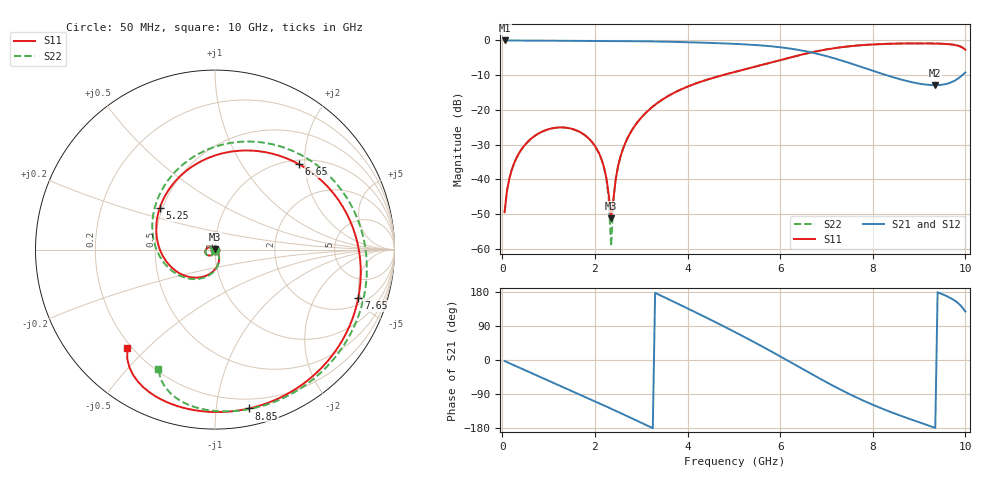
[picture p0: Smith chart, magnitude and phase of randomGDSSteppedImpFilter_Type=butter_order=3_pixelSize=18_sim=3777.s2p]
! freq	dB(S11)	phase(S11)	dB(S12)	phase(S12)
!  dB(S21)	phase(S21)	dB(S22)	phase(S22)
!S-par simulation data
#  GHz  S  DB  R 50
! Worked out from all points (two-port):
!   200 points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, 50 MHz to 10 GHz, reference 50 ohm
!   highest |S21| = -0.01 dB at 50 MHz (marker M1); lowest = -12.9 dB at 9.35 GHz (marker M2)
!   |S21| within 3 dB of the highest: start of sweep to 6.512 GHz
!   lowest |S11| = -51.2 dB at 2.35 GHz (marker M3), VSWR 1.01, Z = 50.1 + j0.24 ohm
!   |S11| at or under -10 dB: start of sweep to 4.759 GHz
!   |S22| runs from -59.2 to -0.8 dB; largest |S21 - S12| = 0
!   S11 on the Smith chart (normalised r, x): 50 MHz: 1.00, -0.01; 5.25 GHz: 0.48, +0.26; 6.65 GHz: 1.09, +1.87; 7.65 GHz: 2.58, -4.77; 8.85 GHz: 0.13, -1.23; 10 GHz: 0.18, -0.44
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0.05  -49.42 -86.9  -0.01 -2.8  -0.01 -2.8  -49.42 -86.8
0.2  -37.43 -99.7  -0.02 -10.9  -0.02 -10.9  -37.43 -99.5
0.55  -29.18 -120.3  -0.04 -30.0  -0.04 -30.0  -29.19 -119.7
1.75  -26.96 171.1  -0.12 -95.3  -0.12 -95.3  -26.98 174.2
2.2  -36.67 138.9  -0.14 -120.2  -0.14 -120.2  -36.88 149.2
2.3  -44.60 116.9  -0.15 -125.8  -0.15 -125.8  -45.76 142.9
2.35  -51.16 60.0  -0.15 -128.6  -0.15 -128.6  -59.22 94.2
2.4  -45.55 -13.6  -0.15 -131.4  -0.15 -131.4  -46.36 -40.4
2.45  -39.84 -31.2  -0.16 -134.2  -0.16 -134.2  -39.95 -43.8
2.6  -31.45 -48.7  -0.17 -142.6  -0.17 -142.6  -31.42 -52.4
3.4  -17.54 -99.8  -0.32 171.4  -0.32 171.4  -17.51 -97.6
4.3  -11.83 -155.2  -0.63 118.2  -0.63 118.2  -11.81 -149.1
5.05  -8.97 156.3  -1.01 72.1  -1.01 72.1  -8.95 166.5
5.25  -8.28 142.9  -1.15 59.3  -1.15 59.3  -8.26 154.2
5.95  -5.83 94.5  -1.89 13.0  -1.89 13.0  -5.83 109.2
6.65  -3.51 45.4  -3.38 -35.1  -3.38 -35.1  -3.51 61.7
6.7  -3.37 41.9  -3.53 -38.5  -3.53 -38.5  -3.37 58.3
7.65  -1.49 -18.6  -7.17 -98.9  -7.17 -98.9  -1.47 -2.4
8.35  -0.98 -55.2  -10.23 -135.5  -10.23 -135.5  -0.95 -39.5
8.85  -0.86 -77.9  -12.04 -157.9  -12.04 -157.9  -0.82 -62.3
9.35  -0.91 -99.1  -12.87 -179.2  -12.87 -179.2  -0.86 -83.5
10  -2.69 -131.7  -9.22 127.7  -9.22 127.7  -2.65 -115.4
